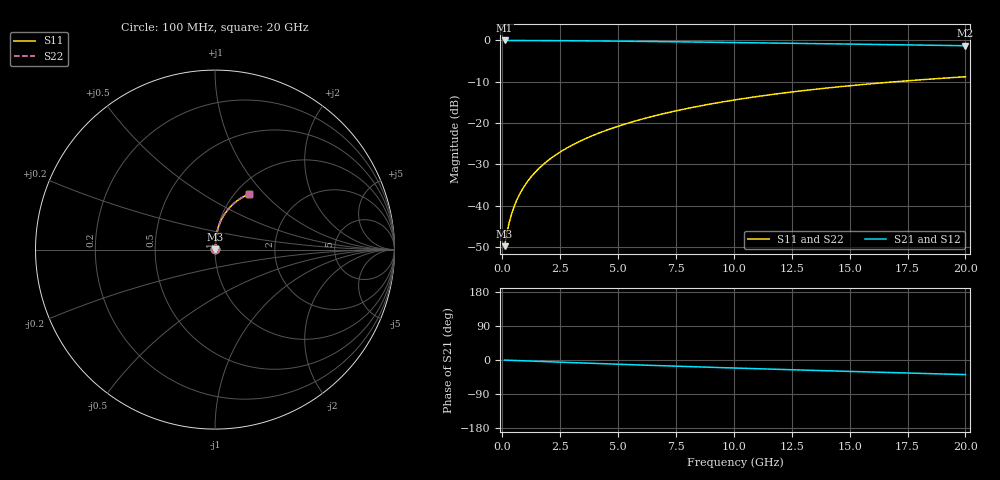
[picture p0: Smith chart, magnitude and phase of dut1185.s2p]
! Touchstone file exported from HFSS 2024.1.0
!  File:  C:/UserFiles/LocalFiles/RDL_TSV_Batchsim/temp_RDL_top_1185_1780049396.aedt
!  Generated:  06:12:07 PM May 29, 2026
!  Design:  RDL_top
!  Project:  temp_RDL_top_1185_1780049396
!  Setup:  Setup1
!  Solution:  Sweep
! Variables:
!  dtsv = 10.80580581um
!  hbump = 3um
!  htsv = 73.37um
!  ldown = 100um
!  lrdl = 528.68um
!  p = 40
!  p1 = 52.03um
!  rhole = 1um
!  t = 450um
!  tdown = 3.915915916um
!  trdl = 3.57um
!  wdown = 15.38538539um
!  wrdl = 21.9um
# GHz S MA R 50.000000
! Terminal data exported
! Port[1] = Box2_T1
! Port[2] = Box2_T2
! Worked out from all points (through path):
!   200 points, 100 MHz to 20 GHz, reference 50 ohm
!   highest |S21| = -0.02 dB at 100 MHz (marker M1); lowest = -1.3 dB at 20 GHz (marker M2)
!   group delay of S21, straight-line fit = 5.3 ps
!   lowest |S11| = -49.8 dB at 100 MHz (marker M3), VSWR 1.01, Z = 50.3 + j0.194 ohm
!   |S11| at or under -10 dB: start of sweep to 17 GHz
!   |S22| runs from -49.8 to -8.8 dB; largest |S21 - S12| = 3.3e-15
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0.1  0.003232 36.7  0.9974 -0.2  0.9974 -0.2  0.003232 36.7
! Gamma 0 0 0 0
! Port Impedance 50 0 50 0
0.2  0.004668 54.4  0.9973 -0.5  0.9973 -0.5  0.004668 54.4
0.3  0.006275 63.0  0.9971 -0.7  0.9971 -0.7  0.006275 63.0
0.4  0.007918 68.1  0.9969 -0.9  0.9969 -0.9  0.007918 68.1
0.5  0.009576 71.4  0.9968 -1.2  0.9968 -1.2  0.009576 71.4
0.6  0.01125 73.9  0.9966 -1.4  0.9966 -1.4  0.01125 73.9
0.8  0.01463 77.2  0.9963 -1.9  0.9963 -1.9  0.01463 77.2
1.1  0.01978 80.1  0.9958 -2.6  0.9958 -2.6  0.01978 80.1
1.3  0.02325 81.3  0.9953 -3.0  0.9953 -3.0  0.02325 81.3
1.6  0.02851 82.6  0.9946 -3.7  0.9946 -3.7  0.02851 82.6
2.1  0.03738 83.7  0.993 -4.8  0.993 -4.8  0.03738 83.7
2.7  0.0482 84.3  0.9908 -6.2  0.9908 -6.2  0.0482 84.3
3.5  0.0629 84.5  0.987 -8.0  0.987 -8.0  0.06291 84.5
4.2  0.07604 84.2  0.9832 -9.5  0.9832 -9.5  0.07604 84.2
5  0.09132 83.6  0.9783 -11.2  0.9783 -11.2  0.09133 83.6
6.8  0.1265 81.5  0.9659 -14.9  0.9659 -14.9  0.1265 81.5
8.4  0.1581 79.0  0.954 -18.1  0.954 -18.1  0.1582 79.0
10.1  0.1915 76.1  0.9409 -21.3  0.9409 -21.3  0.1916 76.1
11.7  0.2223 73.3  0.9283 -24.3  0.9283 -24.3  0.2223 73.3
13.4  0.2539 70.2  0.9147 -27.4  0.9147 -27.4  0.254 70.2
16.7  0.3113 64.2  0.888 -33.1  0.888 -33.1  0.3114 64.3
20  0.3628 58.6  0.8613 -38.5  0.8613 -38.5  0.3629 58.6
